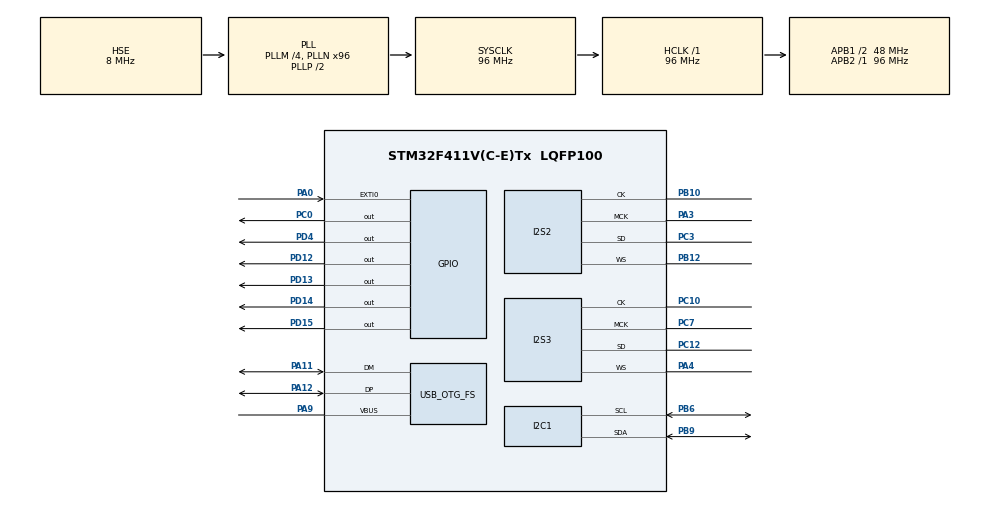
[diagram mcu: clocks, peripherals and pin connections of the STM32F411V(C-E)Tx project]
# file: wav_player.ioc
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Dma.Request0=SPI3_TX
Dma.Request1=SPI2_RX
Dma.SPI2_RX.1.Direction=DMA_PERIPH_TO_MEMORY
Dma.SPI2_RX.1.FIFOMode=DMA_FIFOMODE_ENABLE
Dma.SPI2_RX.1.FIFOThreshold=DMA_FIFO_THRESHOLD_FULL
Dma.SPI2_RX.1.Instance=DMA1_Stream3
Dma.SPI2_RX.1.MemBurst=DMA_MBURST_SINGLE
Dma.SPI2_RX.1.MemDataAlignment=DMA_MDATAALIGN_HALFWORD
Dma.SPI2_RX.1.MemInc=DMA_MINC_ENABLE
Dma.SPI2_RX.1.Mode=DMA_CIRCULAR
Dma.SPI2_RX.1.PeriphBurst=DMA_PBURST_SINGLE
Dma.SPI2_RX.1.PeriphDataAlignment=DMA_PDATAALIGN_HALFWORD
Dma.SPI2_RX.1.PeriphInc=DMA_PINC_DISABLE
Dma.SPI2_RX.1.Priority=DMA_PRIORITY_LOW
Dma.SPI3_TX.0.Direction=DMA_MEMORY_TO_PERIPH
Dma.SPI3_TX.0.FIFOMode=DMA_FIFOMODE_ENABLE
Dma.SPI3_TX.0.FIFOThreshold=DMA_FIFO_THRESHOLD_FULL
Dma.SPI3_TX.0.Instance=DMA1_Stream5
Dma.SPI3_TX.0.MemBurst=DMA_MBURST_SINGLE
Dma.SPI3_TX.0.MemDataAlignment=DMA_MDATAALIGN_HALFWORD
Dma.SPI3_TX.0.MemInc=DMA_MINC_ENABLE
Dma.SPI3_TX.0.Mode=DMA_CIRCULAR
Dma.SPI3_TX.0.PeriphBurst=DMA_PBURST_SINGLE
Dma.SPI3_TX.0.PeriphDataAlignment=DMA_PDATAALIGN_HALFWORD
Dma.SPI3_TX.0.PeriphInc=DMA_PINC_DISABLE
Dma.SPI3_TX.0.Priority=DMA_PRIORITY_LOW
FATFS._FS_LOCK=2
FATFS._FS_RPATH=2
FATFS._MAX_SS=4096
FATFS._USE_LFN=1
I2C1.I2C_Mode=I2C_Standard
I2S2.ErrorAudioFreq=0.0 %
I2S2.FullDuplexMode=I2S_FULLDUPLEXMODE_DISABLE
I2S2.Instance=SPI$Index
I2S2.Mode=I2S_MODE_MASTER_RX
I2S2.RealAudioFreq=8.0 KHz
I2S2.VirtualMode=I2S_MODE_MASTER
I2S3.AudioFreq=I2S_AUDIOFREQ_16K
I2S3.ErrorAudioFreq=0.0 %
I2S3.FullDuplexMode=I2S_FULLDUPLEXMODE_DISABLE
I2S3.Instance=SPI$Index
I2S3.RealAudioFreq=16.0 KHz
I2S3.VirtualMode=I2S_MODE_MASTER
Mcu.Family=STM32F4
Mcu.Name=STM32F411V(C-E)Tx
Mcu.Package=LQFP100
NVIC.DMA1_Stream3_IRQn=true\:0\:0\:false\:false\:true\:false\:true
NVIC.DMA1_Stream5_IRQn=true\:0\:0\:false\:true\:true\:1\:false\:true
NVIC.EXTI0_IRQn=true\:2\:0\:true\:true\:true\:3\:true\:true
NVIC.OTG_FS_IRQn=true\:0\:0\:false\:false\:true\:false\:true
NVIC.PriorityGroup=NVIC_PRIORITYGROUP_4
NVIC.SPI2_IRQn=true\:0\:0\:false\:false\:true\:true\:true
NVIC.SPI3_IRQn=true\:1\:0\:true\:false\:true\:true\:true
NVIC.TIM2_IRQn=true\:0\:0\:false\:true\:true\:2\:true\:true
PA0-WKUP.GPIO_ModeDefaultEXTI=GPIO_MODE_IT_RISING_FALLING
PA0-WKUP.GPIO_PuPd=GPIO_NOPULL
PA0-WKUP.Signal=GPXTI0
PA11.Mode=Host_Only
PA11.Signal=USB_OTG_FS_DM
PA12.Mode=Host_Only
PA12.Signal=USB_OTG_FS_DP
PA3.Mode=Master_Clock_Activated
PA3.Signal=I2S2_MCK
PA4.GPIO_Mode=GPIO_MODE_AF_PP
PA4.GPIO_PuPd=GPIO_NOPULL
PA4.GPIO_Speed=GPIO_SPEED_FREQ_LOW
PA4.Mode=Half_Duplex_Master
PA4.Signal=I2S3_WS
PA9.Mode=Activate_VBUS
PA9.Signal=USB_OTG_FS_VBUS
PB10.Mode=Half_Duplex_Master
PB10.Signal=I2S2_CK
PB12.Mode=Half_Duplex_Master
PB12.Signal=I2S2_WS
PB6.Mode=I2C
PB6.Signal=I2C1_SCL
PB9.Mode=I2C
PB9.Signal=I2C1_SDA
PC0.Signal=GPIO_Output
PC10.GPIO_Mode=GPIO_MODE_AF_PP
PC10.GPIO_PuPd=GPIO_NOPULL
PC10.GPIO_Speed=GPIO_SPEED_FREQ_LOW
PC10.Mode=Half_Duplex_Master
PC10.Signal=I2S3_CK
PC12.GPIO_Mode=GPIO_MODE_AF_PP
PC12.GPIO_PuPd=GPIO_NOPULL
PC12.GPIO_Speed=GPIO_SPEED_FREQ_LOW
PC12.Mode=Half_Duplex_Master
PC12.Signal=I2S3_SD
PC3.Mode=Half_Duplex_Master
PC3.Signal=I2S2_SD
PC7.GPIO_Mode=GPIO_MODE_AF_PP
PC7.GPIO_PuPd=GPIO_NOPULL
PC7.GPIO_Speed=GPIO_SPEED_FREQ_LOW
PC7.Mode=Master_Clock_Activated
PC7.Signal=I2S3_MCK
PD12.Signal=GPIO_Output
PD13.Signal=GPIO_Output
PD14.Signal=GPIO_Output
PD15.Signal=GPIO_Output
PD4.Signal=GPIO_Output
PDM2PCM.CHANNEL1_decimation_factor=PDM_FILTER_DEC_FACTOR_32
PDM2PCM.CHANNEL1_in_ptr_channels=1
PDM2PCM.CHANNEL1_mic_gain=16
PDM2PCM.CHANNEL1_out_ptr_channels=1
PH0\ -\ OSC_IN.Mode=HSE-External-Oscillator
PH0\ -\ OSC_IN.Signal=RCC_OSC_IN
PH1\ -\ OSC_OUT.Mode=HSE-External-Oscillator
PH1\ -\ OSC_OUT.Signal=RCC_OSC_OUT
ProjectManager.HeapSize=0x2000
ProjectManager.StackSize=0x4000
ProjectManager.TargetToolchain=STM32CubeIDE
RCC.48MHZClocksFreq_Value=48000000
RCC.AHBFreq_Value=96000000
RCC.APB1CLKDivider=RCC_HCLK_DIV2
RCC.APB1Freq_Value=48000000
RCC.APB1TimFreq_Value=96000000
RCC.APB2Freq_Value=96000000
RCC.APB2TimFreq_Value=96000000
RCC.CortexFreq_Value=96000000
RCC.HCLKFreq_Value=96000000
RCC.HSE_VALUE=8000000
RCC.HSI_VALUE=16000000
RCC.LSE_VALUE=32768
RCC.PLLI2SM=5
RCC.PLLI2SN=128
RCC.PLLM=4
RCC.PLLN=96
RCC.SYSCLKFreq_VALUE=96000000
RCC.SYSCLKSource=RCC_SYSCLKSOURCE_PLLCLK
RCC.VCOOutputFreq_Value=192000000
TIM2.Period=20-1
TIM2.Prescaler=96-1
TIM2.TIM_MasterOutputTrigger=TIM_TRGO_UPDATE
USB_HOST.BSP.number=1
USB_HOST.USBH_HandleTypeDef=hUsbHostFS
USB_HOST.VirtualModeFS=Msc
USB_HOST0.BSP.STBoard=false
USB_HOST0.BSP.api=Unknown
USB_HOST0.BSP.i2caddr=0
USB_HOST0.BSP.instance=PC0
USB_HOST0.BSP.ip=GPIO
USB_HOST0.BSP.mode=Output
USB_HOST0.BSP.name=Drive_VBUS_FS
USB_HOST0.BSP.solution=PC0
USB_OTG_FS.VirtualMode=Host_Only
USB_OTG_FS.phy_itface=HCD_PHY_EMBEDDED
VP_CRC_VS_CRC.Mode=CRC_Activate
VP_FATFS_VS_USB.Mode=USB
VP_PDM2PCM_VS_PDM2PCM.Mode=PDM2PCM_Channel
VP_TIM2_VS_ClockSourceINT.Mode=Internal
VP_USB_HOST_VS_USB_HOST_MSC_FS.Mode=MSC_FS
board=custom

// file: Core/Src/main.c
/* USER CODE BEGIN Header */
/**
  ******************************************************************************
  * @file           : main.c
  * @brief          : Main program body
  ******************************************************************************
  * @attention
  *
  * <h2><center>&copy; Copyright (c) 2020 STMicroelectronics.
  * All rights reserved.</center></h2>
  *
  * This software component is licensed by ST under BSD 3-Clause license,
  * the "License"; You may not use this file except in compliance with the
  * License. You may obtain a copy of the License at:
  *                        opensource.org/licenses/BSD-3-Clause
  *
  ******************************************************************************
  */
/* USER CODE END Header */
#include <RECORDER.h>
#include "main.h"
#include "fatfs.h"
#include "pdm2pcm.h"
#include "usb_host.h"

/* USER CODE BEGIN Includes */
#include "WAV.h"
#include "LSM303DLHC.h"
#include "MP45DT02.h"
#include "CS43L22.h"
/* USER CODE END Includes */

CRC_HandleTypeDef hcrc;

I2C_HandleTypeDef hi2c1;

I2S_HandleTypeDef hi2s2;
I2S_HandleTypeDef hi2s3;
DMA_HandleTypeDef hdma_spi2_rx;
DMA_HandleTypeDef hdma_spi3_tx;

TIM_HandleTypeDef htim2;

/* USER CODE BEGIN PV */
extern ApplicationTypeDef Appli_state;

FATFS fs;
extern char USBHPath[4];

FIL file;
FRESULT res;
UINT bytes_written, bytes_read;
/* USER CODE END PV */

void SystemClock_Config(void);
static void MX_GPIO_Init(void);
static void MX_DMA_Init(void);
static void MX_I2S3_Init(void);
static void MX_I2C1_Init(void);
static void MX_TIM2_Init(void);
static void MX_I2S2_Init(void);
static void MX_CRC_Init(void);
static void MX_NVIC_Init(void);
void MX_USB_HOST_Process(void);

/* USER CODE BEGIN PFP */
void handle_user_button(){
	static uint32_t press_time;
	if(HAL_GPIO_ReadPin(GPIOA, GPIO_PIN_0) == GPIO_PIN_SET){
		press_time = HAL_GetTick();
	} else if(300 < HAL_GetTick() - press_time){
		WAV_stop_play();
		if(!RECORDER_is_running()){
			RECORDER_start();

		}
	} else if(WAV_is_running()){
		WAV_next_song();
	} else{
		if(RECORDER_is_running()){
			RECORDER_stop();
		}
		WAV_reset_songs();
	}
}

void HAL_GPIO_EXTI_Callback(uint16_t GPIO_Pin){
	if(GPIO_Pin==GPIO_PIN_0){
		handle_user_button();
	}
}

void handle_tilt_sensor(){
	if(LSM303DLHC_should_handle_interrupt()){
		LSM303DLHC_TILT tilt = LSM303DLHC_get_tilt();
		if(tilt == LSM303DLHC_TILT_RIGHT && WAV_is_running()){
			WAV_next_song();
		} else if(tilt == LSM303DLHC_TILT_RIGHT && !WAV_is_running()){
			WAV_reset_songs();
		} else {
			WAV_stop_play();
		}
	}
}

void HAL_I2S_TxHalfCpltCallback(I2S_HandleTypeDef *hi2s) {
	if(hi2s->Instance == SPI3){
		CS43L22_half_buffer_callback();
	}
}

void HAL_I2S_TxCpltCallback(I2S_HandleTypeDef *hi2s)  {
	if(hi2s->Instance == SPI3){
		CS43L22_full_buffer_callback();
	}
}

void HAL_I2S_RxHalfCpltCallback(I2S_HandleTypeDef *hi2s) {
	if(hi2s->Instance == SPI2){
		MP45DT02_half_buffer_callback();
	}
}

void HAL_I2S_RxCpltCallback(I2S_HandleTypeDef *hi2s) {
	if(hi2s->Instance == SPI2){
		MP45DT02_full_buffer_callback();
	}
}

/* USER CODE END PFP */

int main(void)
{

  /* MCU Configuration--------------------------------------------------------*/

  /* Reset of all peripherals, Initializes the Flash interface and the Systick. */
  HAL_Init();

  /* Configure the system clock */
  SystemClock_Config();

  /* Initialize all configured peripherals */
  MX_GPIO_Init();
  MX_DMA_Init();
  MX_I2S3_Init();
  MX_I2C1_Init();
  MX_TIM2_Init();
  MX_FATFS_Init();
  MX_USB_HOST_Init();
  MX_I2S2_Init();
  MX_CRC_Init();
  MX_PDM2PCM_Init();

  /* Initialize interrupts */
  MX_NVIC_Init();

  /* Infinite loop */
  /* USER CODE BEGIN WHILE */
  WAV_init();
  MP45DT02_init();
  LSM303DLHC_init(hi2c1);
  uint32_t tilt_debounce_time = HAL_GetTick();
  while (1)
  {
    /* USER CODE END WHILE */
    MX_USB_HOST_Process();

    /* USER CODE BEGIN 3 */
    RECORDER_process();
	WAV_process();
	if(100 < HAL_GetTick() - tilt_debounce_time){
		handle_tilt_sensor();
		tilt_debounce_time = HAL_GetTick();
	}
  }
  /* USER CODE END 3 */
}

void SystemClock_Config(void)
{
  RCC_OscInitTypeDef RCC_OscInitStruct = {0};
  RCC_ClkInitTypeDef RCC_ClkInitStruct = {0};
  RCC_PeriphCLKInitTypeDef PeriphClkInitStruct = {0};

  /** Configure the main internal regulator output voltage
  */
  __HAL_RCC_PWR_CLK_ENABLE();
  __HAL_PWR_VOLTAGESCALING_CONFIG(PWR_REGULATOR_VOLTAGE_SCALE1);
  /** Initializes the RCC Oscillators according to the specified parameters
  * in the RCC_OscInitTypeDef structure.
  */
  RCC_OscInitStruct.OscillatorType = RCC_OSCILLATORTYPE_HSE;
  RCC_OscInitStruct.HSEState = RCC_HSE_ON;
  RCC_OscInitStruct.PLL.PLLState = RCC_PLL_ON;
  RCC_OscInitStruct.PLL.PLLSource = RCC_PLLSOURCE_HSE;
  RCC_OscInitStruct.PLL.PLLM = 4;
  RCC_OscInitStruct.PLL.PLLN = 96;
  RCC_OscInitStruct.PLL.PLLP = RCC_PLLP_DIV2;
  RCC_OscInitStruct.PLL.PLLQ = 4;
  if (HAL_RCC_OscConfig(&RCC_OscInitStruct) != HAL_OK)
  {
    Error_Handler();
  }
  /** Initializes the CPU, AHB and APB buses clocks
  */
  RCC_ClkInitStruct.ClockType = RCC_CLOCKTYPE_HCLK|RCC_CLOCKTYPE_SYSCLK
                              |RCC_CLOCKTYPE_PCLK1|RCC_CLOCKTYPE_PCLK2;
  RCC_ClkInitStruct.SYSCLKSource = RCC_SYSCLKSOURCE_PLLCLK;
  RCC_ClkInitStruct.AHBCLKDivider = RCC_SYSCLK_DIV1;
  RCC_ClkInitStruct.APB1CLKDivider = RCC_HCLK_DIV2;
  RCC_ClkInitStruct.APB2CLKDivider = RCC_HCLK_DIV1;

  if (HAL_RCC_ClockConfig(&RCC_ClkInitStruct, FLASH_LATENCY_3) != HAL_OK)
  {
    Error_Handler();
  }
  PeriphClkInitStruct.PeriphClockSelection = RCC_PERIPHCLK_I2S;
  PeriphClkInitStruct.PLLI2S.PLLI2SN = 128;
  PeriphClkInitStruct.PLLI2S.PLLI2SM = 5;
  PeriphClkInitStruct.PLLI2S.PLLI2SR = 2;
  if (HAL_RCCEx_PeriphCLKConfig(&PeriphClkInitStruct) != HAL_OK)
  {
    Error_Handler();
  }
}

/**
  * @brief NVIC Configuration.
  * @retval None
  */
static void MX_NVIC_Init(void)
{
  /* DMA1_Stream5_IRQn interrupt configuration */
  HAL_NVIC_SetPriority(DMA1_Stream5_IRQn, 0, 0);
  HAL_NVIC_EnableIRQ(DMA1_Stream5_IRQn);
  /* TIM2_IRQn interrupt configuration */
  HAL_NVIC_SetPriority(TIM2_IRQn, 0, 0);
  HAL_NVIC_EnableIRQ(TIM2_IRQn);
  /* EXTI0_IRQn interrupt configuration */
  HAL_NVIC_SetPriority(EXTI0_IRQn, 2, 0);
  HAL_NVIC_EnableIRQ(EXTI0_IRQn);
}

static void MX_CRC_Init(void)
{

  hcrc.Instance = CRC;
  if (HAL_CRC_Init(&hcrc) != HAL_OK)
  {
    Error_Handler();
  }
  __HAL_CRC_DR_RESET(&hcrc);

}

static void MX_I2C1_Init(void)
{

  hi2c1.Instance = I2C1;
  hi2c1.Init.ClockSpeed = 100000;
  hi2c1.Init.DutyCycle = I2C_DUTYCYCLE_2;
  hi2c1.Init.OwnAddress1 = 0;
  hi2c1.Init.AddressingMode = I2C_ADDRESSINGMODE_7BIT;
  hi2c1.Init.DualAddressMode = I2C_DUALADDRESS_DISABLE;
  hi2c1.Init.OwnAddress2 = 0;
  hi2c1.Init.GeneralCallMode = I2C_GENERALCALL_DISABLE;
  hi2c1.Init.NoStretchMode = I2C_NOSTRETCH_DISABLE;
  if (HAL_I2C_Init(&hi2c1) != HAL_OK)
  {
    Error_Handler();
  }

}

static void MX_I2S2_Init(void)
{

  hi2s2.Instance = SPI2;
  hi2s2.Init.Mode = I2S_MODE_MASTER_RX;
  hi2s2.Init.Standard = I2S_STANDARD_PHILIPS;
  hi2s2.Init.DataFormat = I2S_DATAFORMAT_16B;
  hi2s2.Init.MCLKOutput = I2S_MCLKOUTPUT_ENABLE;
  hi2s2.Init.AudioFreq = I2S_AUDIOFREQ_8K;
  hi2s2.Init.CPOL = I2S_CPOL_LOW;
  hi2s2.Init.ClockSource = I2S_CLOCK_PLL;
  hi2s2.Init.FullDuplexMode = I2S_FULLDUPLEXMODE_DISABLE;
  if (HAL_I2S_Init(&hi2s2) != HAL_OK)
  {
    Error_Handler();
  }

}

static void MX_I2S3_Init(void)
{

  hi2s3.Instance = SPI3;
  hi2s3.Init.Mode = I2S_MODE_MASTER_TX;
  hi2s3.Init.Standard = I2S_STANDARD_PHILIPS;
  hi2s3.Init.DataFormat = I2S_DATAFORMAT_16B;
  hi2s3.Init.MCLKOutput = I2S_MCLKOUTPUT_ENABLE;
  hi2s3.Init.AudioFreq = I2S_AUDIOFREQ_16K;
  hi2s3.Init.CPOL = I2S_CPOL_LOW;
  hi2s3.Init.ClockSource = I2S_CLOCK_PLL;
  hi2s3.Init.FullDuplexMode = I2S_FULLDUPLEXMODE_DISABLE;
  if (HAL_I2S_Init(&hi2s3) != HAL_OK)
  {
    Error_Handler();
  }

}

static void MX_TIM2_Init(void)
{

  TIM_ClockConfigTypeDef sClockSourceConfig = {0};
  TIM_MasterConfigTypeDef sMasterConfig = {0};

  htim2.Instance = TIM2;
  htim2.Init.Prescaler = 96-1;
  htim2.Init.CounterMode = TIM_COUNTERMODE_UP;
  htim2.Init.Period = 20-1;
  htim2.Init.ClockDivision = TIM_CLOCKDIVISION_DIV1;
  htim2.Init.AutoReloadPreload = TIM_AUTORELOAD_PRELOAD_DISABLE;
  if (HAL_TIM_Base_Init(&htim2) != HAL_OK)
  {
    Error_Handler();
  }
  sClockSourceConfig.ClockSource = TIM_CLOCKSOURCE_INTERNAL;
  if (HAL_TIM_ConfigClockSource(&htim2, &sClockSourceConfig) != HAL_OK)
  {
    Error_Handler();
  }
  sMasterConfig.MasterOutputTrigger = TIM_TRGO_UPDATE;
  sMasterConfig.MasterSlaveMode = TIM_MASTERSLAVEMODE_DISABLE;
  if (HAL_TIMEx_MasterConfigSynchronization(&htim2, &sMasterConfig) != HAL_OK)
  {
    Error_Handler();
  }

}

static void MX_DMA_Init(void)
{

  /* DMA controller clock enable */
  __HAL_RCC_DMA1_CLK_ENABLE();

  /* DMA interrupt init */
  /* DMA1_Stream3_IRQn interrupt configuration */
  HAL_NVIC_SetPriority(DMA1_Stream3_IRQn, 0, 0);
  HAL_NVIC_EnableIRQ(DMA1_Stream3_IRQn);

}

static void MX_GPIO_Init(void)
{
  GPIO_InitTypeDef GPIO_InitStruct = {0};

  /* GPIO Ports Clock Enable */
  __HAL_RCC_GPIOH_CLK_ENABLE();
  __HAL_RCC_GPIOC_CLK_ENABLE();
  __HAL_RCC_GPIOA_CLK_ENABLE();
  __HAL_RCC_GPIOB_CLK_ENABLE();
  __HAL_RCC_GPIOD_CLK_ENABLE();

  /*Configure GPIO pin Output Level */
  HAL_GPIO_WritePin(GPIOC, GPIO_PIN_0, GPIO_PIN_RESET);

  /*Configure GPIO pin Output Level */
  HAL_GPIO_WritePin(GPIOD, GPIO_PIN_12|GPIO_PIN_13|GPIO_PIN_14|GPIO_PIN_15
                          |GPIO_PIN_4, GPIO_PIN_RESET);

  /*Configure GPIO pin : PC0 */
  GPIO_InitStruct.Pin = GPIO_PIN_0;
  GPIO_InitStruct.Mode = GPIO_MODE_OUTPUT_PP;
  GPIO_InitStruct.Pull = GPIO_NOPULL;
  GPIO_InitStruct.Speed = GPIO_SPEED_FREQ_LOW;
  HAL_GPIO_Init(GPIOC, &GPIO_InitStruct);

  /*Configure GPIO pin : PA0 */
  GPIO_InitStruct.Pin = GPIO_PIN_0;
  GPIO_InitStruct.Mode = GPIO_MODE_IT_RISING_FALLING;
  GPIO_InitStruct.Pull = GPIO_NOPULL;
  HAL_GPIO_Init(GPIOA, &GPIO_InitStruct);

  /*Configure GPIO pins : PD12 PD13 PD14 PD15
                           PD4 */
  GPIO_InitStruct.Pin = GPIO_PIN_12|GPIO_PIN_13|GPIO_PIN_14|GPIO_PIN_15
                          |GPIO_PIN_4;
  GPIO_InitStruct.Mode = GPIO_MODE_OUTPUT_PP;
  GPIO_InitStruct.Pull = GPIO_NOPULL;
  GPIO_InitStruct.Speed = GPIO_SPEED_FREQ_LOW;
  HAL_GPIO_Init(GPIOD, &GPIO_InitStruct);

}

void Error_Handler(void)
{
}

/************************ (C) COPYRIGHT STMicroelectronics *****END OF FILE****/
